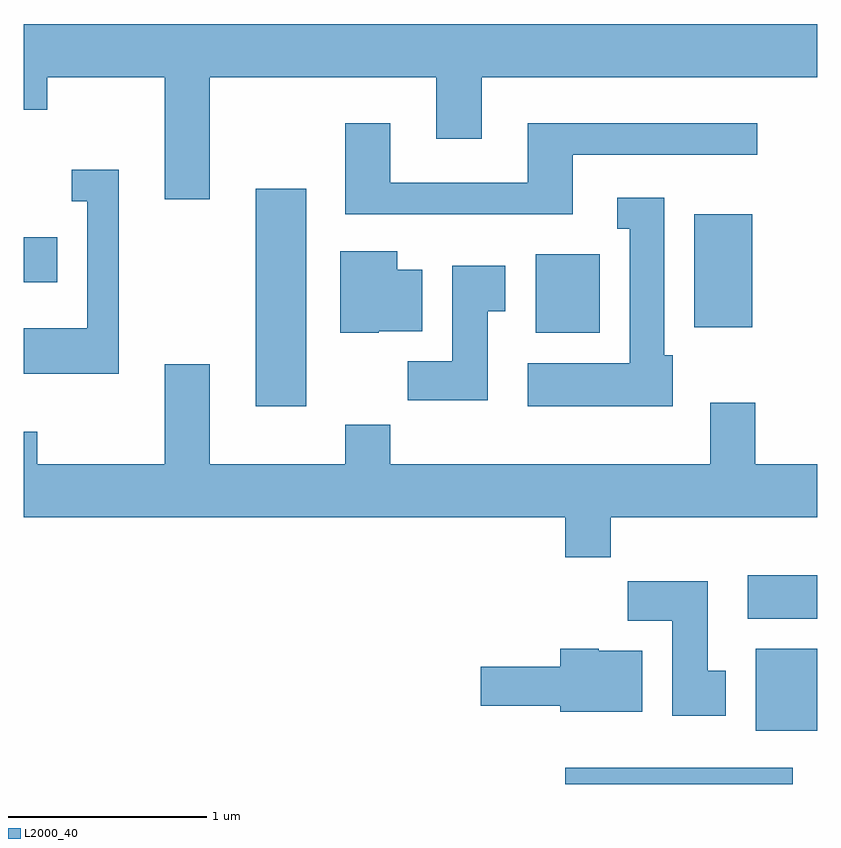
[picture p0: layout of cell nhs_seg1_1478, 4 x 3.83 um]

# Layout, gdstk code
import gdstk
lib = gdstk.Library(unit=1e-6, precision=1e-09)
def R(c, l, rs):  # rectangles x0, y0, x1, y1
    for r in rs: c.add(gdstk.rectangle(r[:2], r[2:], *l))
def P(c, l, *ps):  # polygons
    for p in ps: c.add(gdstk.Polygon(p, *l))
L2000_40 = (2000, 40)

nhs_seg1_1478 = lib.new_cell('nhs_seg1_1478')
R(nhs_seg1_1478, L2000_40, [(232.341,973.712,233.489,973.794), (233.301,973.981,233.611,974.394), (233.261,974.546,233.611,974.764), (230.781,975.616,231.034,976.714), (232.191,975.986,232.514,976.384), (232.991,976.016,233.284,976.584), (229.611,976.241,229.779,976.469)])
P(nhs_seg1_1478, L2000_40, [(230.549,977.276),(231.691,977.276),(231.691,976.966),(231.919,976.966),(231.919,977.276),(233.611,977.276),(233.611,977.544),(229.611,977.544),(229.611,977.111),(229.729,977.111),(229.729,977.276),(230.321,977.276),(230.321,976.661),(230.549,976.661)],
  [(232.379,976.886),(233.308,976.886),(233.308,977.044),(232.151,977.044),(232.151,976.744),(231.459,976.744),(231.459,977.044),(231.231,977.044),(231.231,976.586),(232.379,976.586)],
  [(230.089,976.809),(229.853,976.809),(229.853,976.651),(229.931,976.651),(229.931,976.009),(229.611,976.009),(229.611,975.781),(230.089,975.781)],
  [(232.884,975.874),(232.839,975.874),(232.839,976.669),(232.603,976.669),(232.603,976.511),(232.666,976.511),(232.666,975.834),(232.151,975.834),(232.151,975.616),(232.884,975.616)],
  [(231.4,975.996),(231.619,975.996),(231.619,976.304),(231.494,976.304),(231.494,976.399),(231.206,976.399),(231.206,975.986),(231.4,975.986)],
  [(231.949,976.096),(232.039,976.096),(232.039,976.324),(231.771,976.324),(231.771,975.844),(231.546,975.844),(231.546,975.646),(231.949,975.646)],
  [(232.569,975.056),(233.611,975.056),(233.611,975.324),(233.299,975.324),(233.299,975.634),(233.071,975.634),(233.071,975.324),(231.459,975.324),(231.459,975.524),(231.231,975.524),(231.231,975.324),(230.549,975.324),(230.549,975.829),(230.321,975.829),(230.321,975.324),(229.679,975.324),(229.679,975.489),(229.611,975.489),(229.611,975.056),(232.341,975.056),(232.341,974.856),(232.569,974.856)],
  [(233.149,974.284),(233.059,974.284),(233.059,974.734),(232.656,974.734),(232.656,974.536),(232.881,974.536),(232.881,974.056),(233.149,974.056)],
  [(232.729,974.384),(232.51,974.384),(232.51,974.394),(232.316,974.394),(232.316,974.304),(231.916,974.304),(231.916,974.106),(232.316,974.106),(232.316,974.076),(232.729,974.076)])

lib.write_gds('nhs_seg1_1478.gds')
